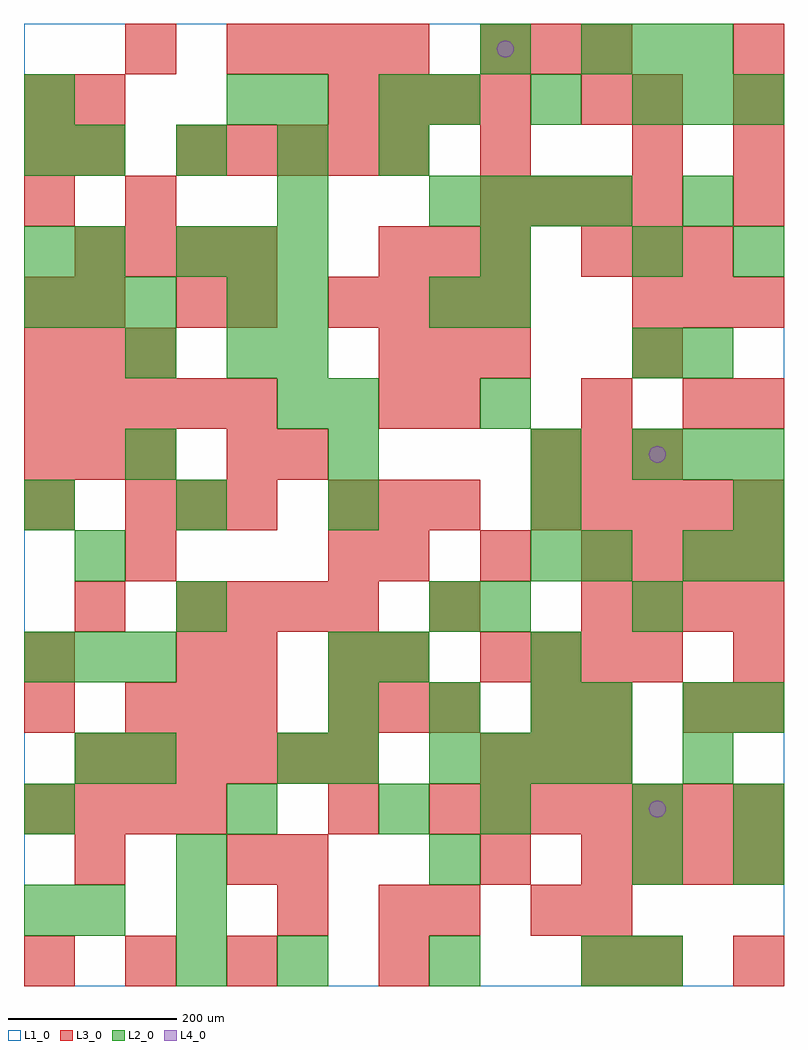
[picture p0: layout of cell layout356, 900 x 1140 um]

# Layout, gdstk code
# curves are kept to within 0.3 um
import gdstk
lib = gdstk.Library(unit=1e-6, precision=1e-09)
def R(c, l, rs):  # rectangles x0, y0, x1, y1
    for r in rs: c.add(gdstk.rectangle(r[:2], r[2:], *l))
def A(c, l, x, y, w, h, nx, ny, dx, dy):  # array of equal rectangles
    R(c, l, [(x+i*dx, y+j*dy, x+i*dx+w, y+j*dy+h) for i in range(nx) for j in range(ny)])
def P(c, l, *ps):  # polygons
    for p in ps: c.add(gdstk.Polygon(p, *l))
L1_0 = (1, 0)
L2_0 = (2, 0)
L3_0 = (3, 0)
L4_0 = (4, 0)

layout356 = lib.new_cell('layout356')
R(layout356, L1_0, [(0,0,900,1140)])
A(layout356, L2_0, 180, 0, 60, 60, 1, 3, 0, 60)
A(layout356, L2_0, 300, 0, 60, 60, 3, 1, 180, 0)
A(layout356, L2_0, 540, 180, 60, 60, 1, 3, 0, 240)
A(layout356, L2_0, 480, 240, 60, 60, 4, 2, 60, 660)
A(layout356, L2_0, 360, 300, 60, 60, 3, 1, 120, 0)
A(layout356, L2_0, 0, 360, 60, 60, 3, 2, 60, 420)
A(layout356, L2_0, 0, 540, 60, 60, 3, 1, 180, 0)
A(layout356, L2_0, 120, 600, 60, 60, 3, 1, 240, 0)
A(layout356, L2_0, 720, 600, 60, 60, 3, 1, 60, 0)
A(layout356, L2_0, 300, 660, 60, 60, 1, 3, 0, 60)
A(layout356, L2_0, 180, 840, 60, 60, 3, 1, 60, 0)
A(layout356, L2_0, 60, 960, 60, 60, 4, 1, 120, 0)
A(layout356, L2_0, 480, 1020, 60, 60, 3, 1, 120, 0)
A(layout356, L2_0, 660, 1080, 60, 60, 3, 1, 60, 0)
R(layout356, L2_0, [(720,0,780,60), (0,60,60,120), (60,60,120,120), (480,120,540,180), (720,120,780,180), (840,120,900,180), (0,180,60,240), (240,180,300,240), (420,180,480,240), (720,180,780,240), (840,180,900,240), (60,240,120,300), (120,240,180,300), (300,240,360,300), (360,240,420,300), (780,240,840,300), (660,300,720,360), (780,300,840,360), (840,300,900,360), (360,360,420,420), (420,360,480,420), (600,360,660,420), (180,420,240,480), (480,420,540,480), (720,420,780,480), (60,480,120,540), (600,480,660,540), (660,480,720,540), (780,480,840,540), (840,480,900,540), (600,540,660,600), (840,540,900,600), (360,660,420,720), (120,720,180,780), (240,720,300,780), (720,720,780,780), (780,720,840,780), (240,780,300,840), (480,780,540,840), (540,780,600,840), (0,840,60,900), (60,840,120,900), (540,840,600,900), (720,840,780,900), (840,840,900,900), (300,900,360,960), (780,900,840,960), (0,960,60,1020), (0,1020,60,1080), (240,1020,300,1080), (300,1020,360,1080), (420,1020,480,1080), (780,1020,840,1080), (840,1020,900,1080), (540,1080,600,1140)])
A(layout356, L3_0, 0, 0, 60, 60, 3, 1, 120, 0)
A(layout356, L3_0, 420, 60, 60, 60, 1, 3, 0, 300)
A(layout356, L3_0, 240, 120, 60, 60, 1, 3, 0, 240)
A(layout356, L3_0, 660, 120, 60, 60, 4, 2, 60, 300)
A(layout356, L3_0, 0, 180, 60, 60, 4, 1, 60, 0)
A(layout356, L3_0, 480, 180, 60, 60, 7, 1, 60, 0)
A(layout356, L3_0, 60, 240, 60, 60, 6, 1, 60, 0)
A(layout356, L3_0, 540, 240, 60, 60, 3, 2, 60, 840)
A(layout356, L3_0, 120, 300, 60, 60, 3, 2, 60, 240)
A(layout356, L3_0, 360, 300, 60, 60, 3, 2, 60, 240)
A(layout356, L3_0, 660, 300, 60, 60, 1, 3, 0, 360)
A(layout356, L3_0, 540, 360, 60, 60, 4, 2, 60, 540)
A(layout356, L3_0, 180, 420, 60, 60, 4, 1, 60, 0)
A(layout356, L3_0, 420, 480, 60, 60, 3, 1, 120, 0)
A(layout356, L3_0, 720, 480, 60, 60, 3, 2, 60, 300)
A(layout356, L3_0, 600, 540, 60, 60, 5, 1, 60, 0)
A(layout356, L3_0, 0, 600, 60, 60, 3, 2, 60, 120)
A(layout356, L3_0, 600, 600, 60, 60, 3, 1, 60, 0)
A(layout356, L3_0, 0, 660, 60, 60, 5, 1, 60, 0)
A(layout356, L3_0, 420, 720, 60, 60, 3, 2, 60, 120)
A(layout356, L3_0, 360, 780, 60, 60, 4, 2, 60, 240)
A(layout356, L3_0, 60, 840, 60, 60, 4, 1, 60, 0)
A(layout356, L3_0, 660, 840, 60, 60, 3, 1, 60, 0)
A(layout356, L3_0, 0, 900, 60, 60, 1, 3, 0, 60)
A(layout356, L3_0, 840, 900, 60, 60, 1, 4, 0, 60)
A(layout356, L3_0, 180, 960, 60, 60, 5, 1, 60, 0)
A(layout356, L3_0, 240, 1080, 60, 60, 4, 1, 60, 0)
R(layout356, L3_0, [(420,0,480,60), (660,0,720,60), (720,0,780,60), (840,0,900,60), (300,60,360,120), (480,60,540,120), (600,60,660,120), (660,60,720,120), (60,120,120,180), (300,120,360,180), (540,120,600,180), (360,180,420,240), (0,300,60,360), (600,300,660,360), (780,300,840,360), (840,300,900,360), (0,360,60,420), (180,360,240,420), (360,360,420,420), (840,360,900,420), (60,420,120,480), (480,420,540,480), (120,480,180,540), (360,480,420,540), (0,540,60,600), (300,600,360,660), (480,660,540,720), (780,660,840,720), (840,660,900,720), (720,720,780,780), (0,780,60,840), (60,780,120,840), (180,780,240,840), (240,780,300,840), (120,900,180,960), (60,960,120,1020), (540,960,600,1020), (720,960,780,1020), (60,1020,120,1080), (720,1020,780,1080), (120,1080,180,1140)])
P(layout356, L4_0, [(580,1110),(579.239,1113.827),(577.071,1117.071),(573.827,1119.239),(570,1120),(566.173,1119.239),(562.929,1117.071),(560.761,1113.827),(560,1110),(560.761,1106.173),(562.929,1102.929),(566.173,1100.761),(570,1100),(573.827,1100.761),(577.071,1102.929),(579.239,1106.173)],
  [(760,210),(759.239,213.827),(757.071,217.071),(753.827,219.239),(750,220),(746.173,219.239),(742.929,217.071),(740.761,213.827),(740,210),(740.761,206.173),(742.929,202.929),(746.173,200.761),(750,200),(753.827,200.761),(757.071,202.929),(759.239,206.173)],
  [(760,630),(759.239,633.827),(757.071,637.071),(753.827,639.239),(750,640),(746.173,639.239),(742.929,637.071),(740.761,633.827),(740,630),(740.761,626.173),(742.929,622.929),(746.173,620.761),(750,620),(753.827,620.761),(757.071,622.929),(759.239,626.173)])

lib.write_gds('layout356.gds')
